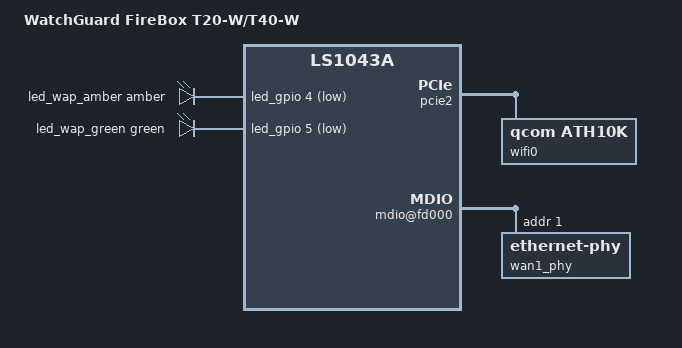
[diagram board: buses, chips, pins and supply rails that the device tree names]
// SPDX-License-Identifier: (GPL-2.0+ OR MIT)
// https://github.com/neggles/openwrt/commit/0e2ba8ef96acc7a6c7fcb57319e89563decea333#diff-73fafdd684ce62f3c48c572d7966775d7a9ef262213ecfea4bd6b75c58bc678c

/dts-v1/;
#include "fsl-ls1043a-watchguard.dtsi"

/ {
	model = "WatchGuard FireBox T20-W/T40-W";
	compatible = "watchguard,firebox-t20-w", "watchguard,firebox-t40-w",
		     "fsl,ls1043a-rdb", "fsl,ls1043a";

	leds {
		led_wap_amber: led-4 {
			color = <LED_COLOR_ID_AMBER>;
			function = LED_FUNCTION_WLAN;
			gpios = <&led_gpio 4 GPIO_ACTIVE_LOW>;
		};

		led_wap_green: led-5 {
			color = <LED_COLOR_ID_GREEN>;
			function = LED_FUNCTION_WLAN;
			gpios = <&led_gpio 5 GPIO_ACTIVE_LOW>;
			linux,default-trigger = "phy0radio";
		};
	};
};

&pcie2 {
	status = "okay";

	wifi0: wifi@0,0 {
		compatible = "qcom,ath10k";
		reg = <0x00010000 0 0 0 0>;
	};
};

&fman0 {
	mdio@fd000 {
		wan1_phy: ethernet-phy@1 {
			reg = <0x01>;
			
   			// AR8035 also used on fsl-ls1028a-kontron-sl28-var1.dts, refer to it too
			// note that on T40 hw, CLK_25M is not connected
			// workaround buggy EEE on early AR8035 revisions
	 		eee-broken-1000t;
		 	eee-broken-100tx;
		};
	};
};
